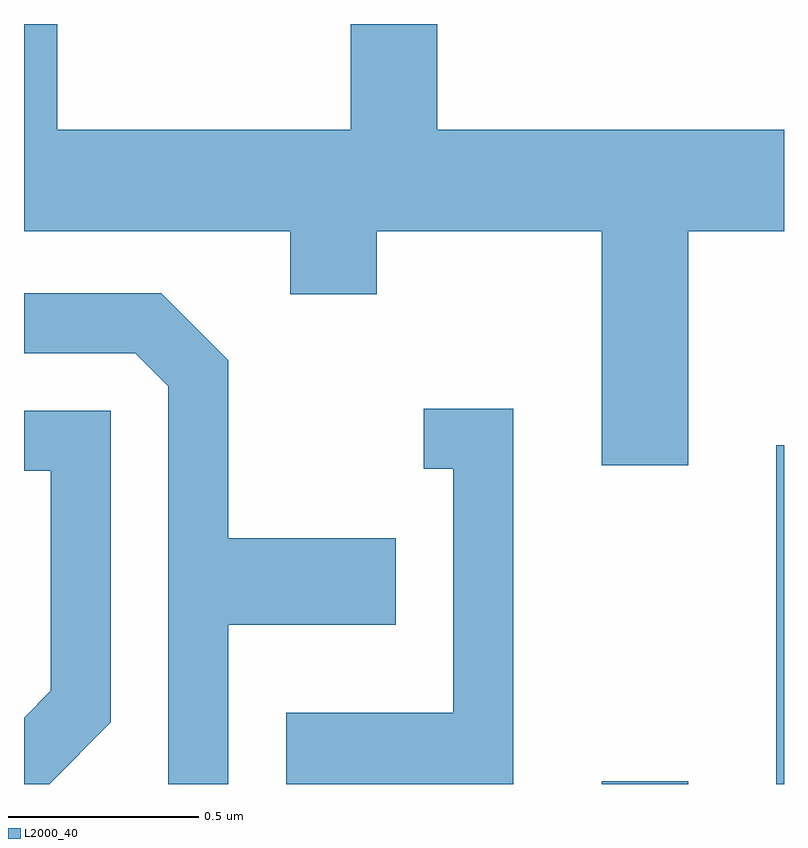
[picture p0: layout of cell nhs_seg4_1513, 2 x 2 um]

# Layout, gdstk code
import gdstk
lib = gdstk.Library(unit=1e-6, precision=1e-09)
def R(c, l, rs):  # rectangles x0, y0, x1, y1
    for r in rs: c.add(gdstk.rectangle(r[:2], r[2:], *l))
def P(c, l, *ps):  # polygons
    for p in ps: c.add(gdstk.Polygon(p, *l))
L2000_40 = (2000, 40)

nhs_seg4_1513 = lib.new_cell('nhs_seg4_1513')
R(nhs_seg4_1513, L2000_40, [(198.131,1259.982,198.359,1259.989), (198.591,1259.982,198.611,1260.874)])
P(nhs_seg4_1513, L2000_40, [(198.359,1261.436),(198.611,1261.436),(198.611,1261.704),(197.699,1261.704),(197.699,1261.982),(197.471,1261.982),(197.471,1261.704),(196.699,1261.704),(196.699,1261.982),(196.611,1261.982),(196.611,1261.436),(197.311,1261.436),(197.311,1261.271),(197.539,1261.271),(197.539,1261.436),(198.131,1261.436),(198.131,1260.821),(198.359,1260.821)],
  [(197.149,1260.401),(197.589,1260.401),(197.589,1260.629),(197.149,1260.629),(197.149,1261.097),(196.972,1261.274),(196.611,1261.274),(196.611,1261.116),(196.904,1261.116),(196.991,1261.029),(196.991,1259.982),(197.149,1259.982)],
  [(197.899,1260.969),(197.663,1260.969),(197.663,1260.811),(197.741,1260.811),(197.741,1260.169),(197.301,1260.169),(197.301,1259.982),(197.899,1259.982)],
  [(196.839,1260.144),(196.839,1260.964),(196.611,1260.964),(196.611,1260.806),(196.681,1260.806),(196.681,1260.227),(196.611,1260.156),(196.611,1259.982),(196.678,1259.982)])

lib.write_gds('nhs_seg4_1513.gds')
